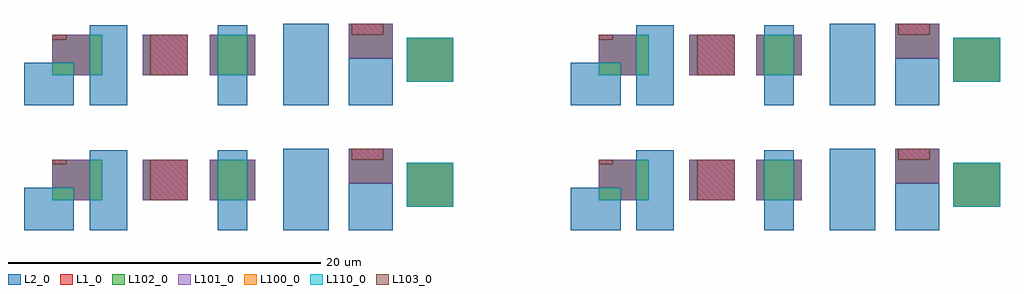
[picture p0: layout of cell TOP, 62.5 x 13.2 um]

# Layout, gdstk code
import gdstk
lib = gdstk.Library(unit=1e-6, precision=1e-09)
def R(c, l, rs):  # rectangles x0, y0, x1, y1
    for r in rs: c.add(gdstk.rectangle(r[:2], r[2:], *l))
def P(c, l, *ps):  # polygons
    for p in ps: c.add(gdstk.Polygon(p, *l))
L1_0 = (1, 0)
L2_0 = (2, 0)
L100_0 = (100, 0)
L101_0 = (101, 0)
L102_0 = (102, 0)
L103_0 = (103, 0)
L110_0 = (110, 0)

child1 = lib.new_cell('CHILD1')
R(child1, L1_0, [(22.7,0,25.7,2.8), (0,0.4,3.2,3), (5.8,0.4,8.7,3), (10.1,0.4,13,3), (19,1.5,21.8,3.7)])
R(child1, L100_0, [(22.7,0,25.7,2.8), (0,0.4,1.4,1.2), (2.4,0.4,3.2,3), (10.6,0.4,12.5,3)])
R(child1, L101_0, [(5.8,0.4,8.7,3), (10.1,0.4,10.6,3), (12.5,0.4,13,3), (19,1.5,21.8,3.7)])
P(child1, L101_0, [(1.4,0.4),(1.4,1.2),(0,1.2),(0,3),(2.4,3),(2.4,0.4)])
R(child1, L102_0, [(22.7,0,25.7,2.8), (5.8,0.4,6.3,3), (10.1,0.4,13,3)])
P(child1, L102_0, [(19,1.5),(19,3.7),(19.2,3.7),(19.2,3),(21.2,3),(21.2,3.7),(21.8,3.7),(21.8,1.5)],
  [(0,0.4),(0,2.7),(0.9,2.7),(0.9,3),(3.2,3),(3.2,0.4)])
R(child1, L103_0, [(6.3,0.4,8.7,3), (0,2.7,0.9,3), (19.2,3,21.2,3.7)])
R(child1, L110_0, [(22.7,0,25.7,2.8), (0,0.4,1.4,1.2), (2.4,0.4,3.2,3), (10.6,0.4,12.5,3)])

cover = lib.new_cell('COVER')
R(cover, L2_0, [(0,0,3.2,2.7), (4.2,0,6.6,5.1), (12.4,0,14.3,5.1), (16.6,0,19.5,5.2), (20.8,0,23.6,3), (24.5,1.5,27.5,4.3)])

top = lib.new_cell('TOP')
R(top, L2_0, [(0,0,3.2,2.7), (4.2,0,6.6,5.1), (12.4,0,14.3,5.1), (16.6,0,19.5,5.2), (20.8,0,23.6,3), (24.5,1.5,27.5,4.3), (0,8,3.2,10.7), (4.2,8,6.6,13.1), (12.4,8,14.3,13.1), (16.6,8,19.5,13.2), (20.8,8,23.6,11), (24.5,9.5,27.5,12.3)])
top.add(gdstk.Reference(child1, (1.8,1.5)))
top.add(gdstk.Reference(child1, (36.8,1.5)))
top.add(gdstk.Reference(child1, (1.8,9.5)))
top.add(gdstk.Reference(child1, (36.8,9.5)))
top.add(gdstk.Reference(cover, (35,0)))
top.add(gdstk.Reference(cover, (35,8)))

lib.write_gds('TOP.gds')
